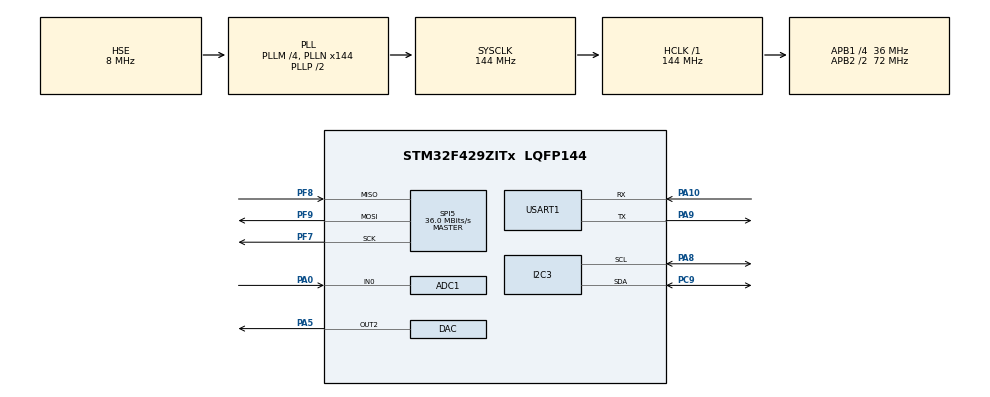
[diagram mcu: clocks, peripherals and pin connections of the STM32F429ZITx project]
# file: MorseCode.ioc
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ADC1.Channel-0\#ChannelRegularConversion=ADC_CHANNEL_0
ADC1.DMAContinuousRequests=ENABLE
ADC1.ExternalTrigConv=ADC_EXTERNALTRIGCONV_T3_TRGO
ADC1.Mode=ADC_TRIPLEMODE_INTERL
ADC1.NbrOfConversionFlag=1
ADC1.Rank-0\#ChannelRegularConversion=1
ADC1.SamplingTime-0\#ChannelRegularConversion=ADC_SAMPLETIME_3CYCLES
ADC1.master=1
ADC2.Channel-0\#ChannelRegularConversion=ADC_CHANNEL_0
ADC2.DMAAccessMode=ADC_DMAACCESSMODE_2
ADC2.Mode=ADC_TRIPLEMODE_INTERL
ADC2.NbrOfConversionFlag=1
ADC2.Rank-0\#ChannelRegularConversion=1
ADC2.SamplingTime-0\#ChannelRegularConversion=ADC_SAMPLETIME_3CYCLES
ADC3.Channel-0\#ChannelRegularConversion=ADC_CHANNEL_0
ADC3.DMAAccessMode=ADC_DMAACCESSMODE_2
ADC3.Mode=ADC_TRIPLEMODE_INTERL
ADC3.NbrOfConversionFlag=1
ADC3.Rank-0\#ChannelRegularConversion=1
ADC3.SamplingTime-0\#ChannelRegularConversion=ADC_SAMPLETIME_3CYCLES
DAC.DAC_Trigger2=DAC_TRIGGER_T6_TRGO
Dma.ADC1.0.Direction=DMA_PERIPH_TO_MEMORY
Dma.ADC1.0.FIFOMode=DMA_FIFOMODE_DISABLE
Dma.ADC1.0.Instance=DMA2_Stream0
Dma.ADC1.0.MemDataAlignment=DMA_MDATAALIGN_WORD
Dma.ADC1.0.MemInc=DMA_MINC_ENABLE
Dma.ADC1.0.Mode=DMA_CIRCULAR
Dma.ADC1.0.PeriphDataAlignment=DMA_PDATAALIGN_WORD
Dma.ADC1.0.PeriphInc=DMA_PINC_DISABLE
Dma.ADC1.0.Priority=DMA_PRIORITY_LOW
Dma.DAC2.1.Direction=DMA_MEMORY_TO_PERIPH
Dma.DAC2.1.FIFOMode=DMA_FIFOMODE_DISABLE
Dma.DAC2.1.Instance=DMA1_Stream6
Dma.DAC2.1.MemDataAlignment=DMA_MDATAALIGN_WORD
Dma.DAC2.1.MemInc=DMA_MINC_ENABLE
Dma.DAC2.1.Mode=DMA_CIRCULAR
Dma.DAC2.1.PeriphDataAlignment=DMA_PDATAALIGN_WORD
Dma.DAC2.1.PeriphInc=DMA_PINC_DISABLE
Dma.DAC2.1.Priority=DMA_PRIORITY_LOW
Dma.Request0=ADC1
Dma.Request1=DAC2
Mcu.Family=STM32F4
Mcu.Name=STM32F429ZITx
Mcu.Package=LQFP144
NVIC.DMA1_Stream6_IRQn=true\:0\:0\:false\:false\:true\:false\:true\:true
NVIC.DMA2_Stream0_IRQn=true\:0\:0\:false\:false\:true\:false\:true\:true
NVIC.PriorityGroup=NVIC_PRIORITYGROUP_0
PA0/WKUP.Signal=ADCx_IN0
PA10.Mode=Asynchronous
PA10.Signal=USART1_RX
PA5.Signal=COMP_DAC2_group
PA8.Mode=I2C
PA8.Signal=I2C3_SCL
PA9.Mode=Asynchronous
PA9.Signal=USART1_TX
PC9.Mode=I2C
PC9.Signal=I2C3_SDA
PF7.Mode=Full_Duplex_Master
PF7.Signal=SPI5_SCK
PF8.Mode=Full_Duplex_Master
PF8.Signal=SPI5_MISO
PF9.Mode=Full_Duplex_Master
PF9.Signal=SPI5_MOSI
PH0/OSC_IN.Mode=HSE-External-Oscillator
PH0/OSC_IN.Signal=RCC_OSC_IN
PH1/OSC_OUT.Mode=HSE-External-Oscillator
PH1/OSC_OUT.Signal=RCC_OSC_OUT
ProjectManager.HeapSize=0x200
ProjectManager.StackSize=0x400
ProjectManager.TargetToolchain=Makefile
RCC.48MHZClocksFreq_Value=41142857.14285714
RCC.AHBFreq_Value=144000000
RCC.APB1CLKDivider=RCC_HCLK_DIV4
RCC.APB1Freq_Value=36000000
RCC.APB1TimFreq_Value=72000000
RCC.APB2CLKDivider=RCC_HCLK_DIV2
RCC.APB2Freq_Value=72000000
RCC.APB2TimFreq_Value=144000000
RCC.CortexFreq_Value=144000000
RCC.HCLKFreq_Value=144000000
RCC.HSE_VALUE=8000000
RCC.HSI_VALUE=16000000
RCC.LSE_VALUE=32768
RCC.PLLM=4
RCC.PLLN=144
RCC.PLLQ=7
RCC.PLLSAIDivR=RCC_PLLSAIDIVR_4
RCC.PLLSAIN=96
RCC.PLLSAIR=4
RCC.PLLSourceVirtual=RCC_PLLSOURCE_HSE
RCC.SYSCLKFreq_VALUE=144000000
RCC.SYSCLKSource=RCC_SYSCLKSOURCE_PLLCLK
RCC.VCOOutputFreq_Value=288000000
SH.ADCx_IN0.0=ADC1_IN0,IN0
SH.ADCx_IN0.1=ADC2_IN0,IN0
SH.ADCx_IN0.2=ADC3_IN0,IN0
SH.COMP_DAC2_group.0=DAC_OUT2,DAC_OUT2
SPI5.CalculateBaudRate=36.0 MBits/s
SPI5.Direction=SPI_DIRECTION_2LINES
SPI5.Mode=SPI_MODE_MASTER
SPI5.VirtualType=VM_MASTER
TIM3.AutoReloadPreload=TIM_AUTORELOAD_PRELOAD_ENABLE
TIM3.Period=30-1
TIM3.TIM_MasterOutputTrigger=TIM_TRGO_UPDATE
TIM6.AutoReloadPreload=TIM_AUTORELOAD_PRELOAD_ENABLE
TIM6.Period=30-1
TIM6.TIM_MasterOutputTrigger=TIM_TRGO_UPDATE
USART1.VirtualMode=VM_ASYNC
VP_CRC_VS_CRC.Mode=CRC_Activate
VP_TIM3_VS_ClockSourceINT.Mode=Internal
VP_TIM6_VS_ClockSourceINT.Mode=Enable_Timer
board=STM32F429I-DISC1

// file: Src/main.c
/* USER CODE BEGIN Header */
/**
  ******************************************************************************
  * @file           : main.c
  * @brief          : Main program body
  ******************************************************************************
  * @attention
  *
  * Copyright (c) 2026 STMicroelectronics.
  * All rights reserved.
  *
  * This software is licensed under terms that can be found in the LICENSE file
  * in the root directory of this software component.
  * If no LICENSE file comes with this software, it is provided AS-IS.
  *
  ******************************************************************************
  */
/* USER CODE END Header */
#include "main.h"

/* USER CODE BEGIN Includes */
#include "math.h"
/* USER CODE END Includes */

/* USER CODE BEGIN PD */
#define FS        3600000.0f
#define F_TONE    1000.0f
#define TABLE_SIZE 200

#define DOT_TIME_MS 100
#define DASH_TIME_MS (3 * DOT_TIME_MS)
/* USER CODE END PD */

/* USER CODE BEGIN PM */
#ifndef M_PI
#define M_PI 3.14159265358979323846f
#endif
/* USER CODE END PM */

ADC_HandleTypeDef hadc1;
ADC_HandleTypeDef hadc2;
ADC_HandleTypeDef hadc3;
DMA_HandleTypeDef hdma_adc1;

CRC_HandleTypeDef hcrc;

DAC_HandleTypeDef hdac;
DMA_HandleTypeDef hdma_dac2;

I2C_HandleTypeDef hi2c3;

SPI_HandleTypeDef hspi5;

TIM_HandleTypeDef htim3;
TIM_HandleTypeDef htim6;

UART_HandleTypeDef huart1;

/* USER CODE BEGIN PV */

volatile uint32_t dac_buffer[TABLE_SIZE];

#define SYMBOL_GAP_MS   DOT_TIME_MS        /* gap between dots/dashes within a letter */
#define LETTER_GAP_MS   (3 * DOT_TIME_MS)  /* gap between letters */
#define WORD_GAP_MS     (7 * DOT_TIME_MS)  /* gap between words */

/* USER CODE END PV */

void SystemClock_Config(void);
static void MX_GPIO_Init(void);
static void MX_DMA_Init(void);
static void MX_ADC1_Init(void);
static void MX_ADC2_Init(void);
static void MX_ADC3_Init(void);
static void MX_DAC_Init(void);
static void MX_TIM6_Init(void);
static void MX_USART1_UART_Init(void);
static void MX_I2C3_Init(void);
static void MX_SPI5_Init(void);
static void MX_TIM3_Init(void);
static void MX_CRC_Init(void);
/* USER CODE BEGIN PFP */

void GenerateSine(void);
void Morse_SOS(void);
void SetTone(uint8_t on);
void Morse_SendSymbol(const char* symbol);
void Morse_SendChar(char c);
void Morse_Send(const char* msg);

/* USER CODE END PFP */

int main(void)
{

  /* MCU Configuration--------------------------------------------------------*/

  /* Reset of all peripherals, Initializes the Flash interface and the Systick. */
  HAL_Init();

  /* Configure the system clock */
  SystemClock_Config();

  /* Initialize all configured peripherals */
  MX_GPIO_Init();
  MX_DMA_Init();
  MX_ADC1_Init();
  MX_ADC2_Init();
  MX_ADC3_Init();
  MX_DAC_Init();
  MX_TIM6_Init();
  MX_USART1_UART_Init();
  MX_I2C3_Init();
  MX_SPI5_Init();
  MX_TIM3_Init();
  MX_CRC_Init();
  /* USER CODE BEGIN 2 */
  GenerateSine();

  HAL_TIM_Base_Start(&htim6);  // DAC trigger timer

  HAL_DAC_Start_DMA(&hdac,
                    DAC_CHANNEL_2,
                    (uint32_t*)dac_buffer,
                    TABLE_SIZE,
                    DAC_ALIGN_12B_R);
    /* USER CODE END 2 */

  /* Infinite loop */
  /* USER CODE BEGIN WHILE */
  while (1)
  {

    Morse_Send("WOLA");          /* or any message you want */
    HAL_Delay(1000);
    // Morse_SOS();
    // HAL_Delay(1000);
    /* USER CODE END WHILE */

  }
}

void SystemClock_Config(void)
{
  RCC_OscInitTypeDef RCC_OscInitStruct = {0};
  RCC_ClkInitTypeDef RCC_ClkInitStruct = {0};

  /** Configure the main internal regulator output voltage
  */
  __HAL_RCC_PWR_CLK_ENABLE();
  __HAL_PWR_VOLTAGESCALING_CONFIG(PWR_REGULATOR_VOLTAGE_SCALE1);

  /** Initializes the RCC Oscillators according to the specified parameters
  * in the RCC_OscInitTypeDef structure.
  */
  RCC_OscInitStruct.OscillatorType = RCC_OSCILLATORTYPE_HSE;
  RCC_OscInitStruct.HSEState = RCC_HSE_ON;
  RCC_OscInitStruct.PLL.PLLState = RCC_PLL_ON;
  RCC_OscInitStruct.PLL.PLLSource = RCC_PLLSOURCE_HSE;
  RCC_OscInitStruct.PLL.PLLM = 4;
  RCC_OscInitStruct.PLL.PLLN = 144;
  RCC_OscInitStruct.PLL.PLLP = RCC_PLLP_DIV2;
  RCC_OscInitStruct.PLL.PLLQ = 7;
  if (HAL_RCC_OscConfig(&RCC_OscInitStruct) != HAL_OK)
  {
    Error_Handler();
  }

  /** Initializes the CPU, AHB and APB buses clocks
  */
  RCC_ClkInitStruct.ClockType = RCC_CLOCKTYPE_HCLK|RCC_CLOCKTYPE_SYSCLK
                              |RCC_CLOCKTYPE_PCLK1|RCC_CLOCKTYPE_PCLK2;
  RCC_ClkInitStruct.SYSCLKSource = RCC_SYSCLKSOURCE_PLLCLK;
  RCC_ClkInitStruct.AHBCLKDivider = RCC_SYSCLK_DIV1;
  RCC_ClkInitStruct.APB1CLKDivider = RCC_HCLK_DIV4;
  RCC_ClkInitStruct.APB2CLKDivider = RCC_HCLK_DIV2;

  if (HAL_RCC_ClockConfig(&RCC_ClkInitStruct, FLASH_LATENCY_4) != HAL_OK)
  {
    Error_Handler();
  }
}

static void MX_ADC1_Init(void)
{

  ADC_MultiModeTypeDef multimode = {0};
  ADC_ChannelConfTypeDef sConfig = {0};

  /** Configure the global features of the ADC (Clock, Resolution, Data Alignment and number of conversion)
  */
  hadc1.Instance = ADC1;
  hadc1.Init.ClockPrescaler = ADC_CLOCK_SYNC_PCLK_DIV2;
  hadc1.Init.Resolution = ADC_RESOLUTION_12B;
  hadc1.Init.ScanConvMode = DISABLE;
  hadc1.Init.ContinuousConvMode = DISABLE;
  hadc1.Init.DiscontinuousConvMode = DISABLE;
  hadc1.Init.ExternalTrigConvEdge = ADC_EXTERNALTRIGCONVEDGE_RISING;
  hadc1.Init.ExternalTrigConv = ADC_EXTERNALTRIGCONV_T3_TRGO;
  hadc1.Init.DataAlign = ADC_DATAALIGN_RIGHT;
  hadc1.Init.NbrOfConversion = 1;
  hadc1.Init.DMAContinuousRequests = ENABLE;
  hadc1.Init.EOCSelection = ADC_EOC_SINGLE_CONV;
  if (HAL_ADC_Init(&hadc1) != HAL_OK)
  {
    Error_Handler();
  }

  /** Configure the ADC multi-mode
  */
  multimode.Mode = ADC_TRIPLEMODE_INTERL;
  multimode.DMAAccessMode = ADC_DMAACCESSMODE_2;
  multimode.TwoSamplingDelay = ADC_TWOSAMPLINGDELAY_5CYCLES;
  if (HAL_ADCEx_MultiModeConfigChannel(&hadc1, &multimode) != HAL_OK)
  {
    Error_Handler();
  }

  /** Configure for the selected ADC regular channel its corresponding rank in the sequencer and its sample time.
  */
  sConfig.Channel = ADC_CHANNEL_0;
  sConfig.Rank = 1;
  sConfig.SamplingTime = ADC_SAMPLETIME_3CYCLES;
  if (HAL_ADC_ConfigChannel(&hadc1, &sConfig) != HAL_OK)
  {
    Error_Handler();
  }

}

static void MX_ADC2_Init(void)
{

  ADC_ChannelConfTypeDef sConfig = {0};

  /** Configure the global features of the ADC (Clock, Resolution, Data Alignment and number of conversion)
  */
  hadc2.Instance = ADC2;
  hadc2.Init.ClockPrescaler = ADC_CLOCK_SYNC_PCLK_DIV2;
  hadc2.Init.Resolution = ADC_RESOLUTION_12B;
  hadc2.Init.ScanConvMode = DISABLE;
  hadc2.Init.ContinuousConvMode = DISABLE;
  hadc2.Init.DiscontinuousConvMode = DISABLE;
  hadc2.Init.DataAlign = ADC_DATAALIGN_RIGHT;
  hadc2.Init.NbrOfConversion = 1;
  hadc2.Init.DMAContinuousRequests = DISABLE;
  hadc2.Init.EOCSelection = ADC_EOC_SINGLE_CONV;
  if (HAL_ADC_Init(&hadc2) != HAL_OK)
  {
    Error_Handler();
  }

  /** Configure for the selected ADC regular channel its corresponding rank in the sequencer and its sample time.
  */
  sConfig.Channel = ADC_CHANNEL_0;
  sConfig.Rank = 1;
  sConfig.SamplingTime = ADC_SAMPLETIME_3CYCLES;
  if (HAL_ADC_ConfigChannel(&hadc2, &sConfig) != HAL_OK)
  {
    Error_Handler();
  }

}

static void MX_ADC3_Init(void)
{

  ADC_ChannelConfTypeDef sConfig = {0};

  /** Configure the global features of the ADC (Clock, Resolution, Data Alignment and number of conversion)
  */
  hadc3.Instance = ADC3;
  hadc3.Init.ClockPrescaler = ADC_CLOCK_SYNC_PCLK_DIV2;
  hadc3.Init.Resolution = ADC_RESOLUTION_12B;
  hadc3.Init.ScanConvMode = DISABLE;
  hadc3.Init.ContinuousConvMode = DISABLE;
  hadc3.Init.DiscontinuousConvMode = DISABLE;
  hadc3.Init.DataAlign = ADC_DATAALIGN_RIGHT;
  hadc3.Init.NbrOfConversion = 1;
  hadc3.Init.DMAContinuousRequests = DISABLE;
  hadc3.Init.EOCSelection = ADC_EOC_SINGLE_CONV;
  if (HAL_ADC_Init(&hadc3) != HAL_OK)
  {
    Error_Handler();
  }

  /** Configure for the selected ADC regular channel its corresponding rank in the sequencer and its sample time.
  */
  sConfig.Channel = ADC_CHANNEL_0;
  sConfig.Rank = 1;
  sConfig.SamplingTime = ADC_SAMPLETIME_3CYCLES;
  if (HAL_ADC_ConfigChannel(&hadc3, &sConfig) != HAL_OK)
  {
    Error_Handler();
  }

}

static void MX_CRC_Init(void)
{

  hcrc.Instance = CRC;
  if (HAL_CRC_Init(&hcrc) != HAL_OK)
  {
    Error_Handler();
  }

}

static void MX_DAC_Init(void)
{

  DAC_ChannelConfTypeDef sConfig = {0};

  /** DAC Initialization
  */
  hdac.Instance = DAC;
  if (HAL_DAC_Init(&hdac) != HAL_OK)
  {
    Error_Handler();
  }

  /** DAC channel OUT2 config
  */
  sConfig.DAC_Trigger = DAC_TRIGGER_T6_TRGO;
  sConfig.DAC_OutputBuffer = DAC_OUTPUTBUFFER_ENABLE;
  if (HAL_DAC_ConfigChannel(&hdac, &sConfig, DAC_CHANNEL_2) != HAL_OK)
  {
    Error_Handler();
  }

}

static void MX_I2C3_Init(void)
{

  hi2c3.Instance = I2C3;
  hi2c3.Init.ClockSpeed = 100000;
  hi2c3.Init.DutyCycle = I2C_DUTYCYCLE_2;
  hi2c3.Init.OwnAddress1 = 0;
  hi2c3.Init.AddressingMode = I2C_ADDRESSINGMODE_7BIT;
  hi2c3.Init.DualAddressMode = I2C_DUALADDRESS_DISABLE;
  hi2c3.Init.OwnAddress2 = 0;
  hi2c3.Init.GeneralCallMode = I2C_GENERALCALL_DISABLE;
  hi2c3.Init.NoStretchMode = I2C_NOSTRETCH_DISABLE;
  if (HAL_I2C_Init(&hi2c3) != HAL_OK)
  {
    Error_Handler();
  }

  /** Configure Analogue filter
  */
  if (HAL_I2CEx_ConfigAnalogFilter(&hi2c3, I2C_ANALOGFILTER_ENABLE) != HAL_OK)
  {
    Error_Handler();
  }

  /** Configure Digital filter
  */
  if (HAL_I2CEx_ConfigDigitalFilter(&hi2c3, 0) != HAL_OK)
  {
    Error_Handler();
  }

}

static void MX_SPI5_Init(void)
{

  /* SPI5 parameter configuration*/
  hspi5.Instance = SPI5;
  hspi5.Init.Mode = SPI_MODE_MASTER;
  hspi5.Init.Direction = SPI_DIRECTION_2LINES;
  hspi5.Init.DataSize = SPI_DATASIZE_8BIT;
  hspi5.Init.CLKPolarity = SPI_POLARITY_LOW;
  hspi5.Init.CLKPhase = SPI_PHASE_1EDGE;
  hspi5.Init.NSS = SPI_NSS_SOFT;
  hspi5.Init.BaudRatePrescaler = SPI_BAUDRATEPRESCALER_2;
  hspi5.Init.FirstBit = SPI_FIRSTBIT_MSB;
  hspi5.Init.TIMode = SPI_TIMODE_DISABLE;
  hspi5.Init.CRCCalculation = SPI_CRCCALCULATION_DISABLE;
  hspi5.Init.CRCPolynomial = 10;
  if (HAL_SPI_Init(&hspi5) != HAL_OK)
  {
    Error_Handler();
  }

}

static void MX_TIM3_Init(void)
{

  TIM_ClockConfigTypeDef sClockSourceConfig = {0};
  TIM_MasterConfigTypeDef sMasterConfig = {0};

  htim3.Instance = TIM3;
  htim3.Init.Prescaler = 0;
  htim3.Init.CounterMode = TIM_COUNTERMODE_UP;
  htim3.Init.Period = 30-1;
  htim3.Init.ClockDivision = TIM_CLOCKDIVISION_DIV1;
  htim3.Init.AutoReloadPreload = TIM_AUTORELOAD_PRELOAD_ENABLE;
  if (HAL_TIM_Base_Init(&htim3) != HAL_OK)
  {
    Error_Handler();
  }
  sClockSourceConfig.ClockSource = TIM_CLOCKSOURCE_INTERNAL;
  if (HAL_TIM_ConfigClockSource(&htim3, &sClockSourceConfig) != HAL_OK)
  {
    Error_Handler();
  }
  sMasterConfig.MasterOutputTrigger = TIM_TRGO_UPDATE;
  sMasterConfig.MasterSlaveMode = TIM_MASTERSLAVEMODE_DISABLE;
  if (HAL_TIMEx_MasterConfigSynchronization(&htim3, &sMasterConfig) != HAL_OK)
  {
    Error_Handler();
  }

}

static void MX_TIM6_Init(void)
{

  TIM_MasterConfigTypeDef sMasterConfig = {0};

  htim6.Instance = TIM6;
  htim6.Init.Prescaler = 10-1;
  htim6.Init.CounterMode = TIM_COUNTERMODE_UP;
  htim6.Init.Period = 36-1;
  htim6.Init.AutoReloadPreload = TIM_AUTORELOAD_PRELOAD_ENABLE;
  if (HAL_TIM_Base_Init(&htim6) != HAL_OK)
  {
    Error_Handler();
  }
  sMasterConfig.MasterOutputTrigger = TIM_TRGO_UPDATE;
  sMasterConfig.MasterSlaveMode = TIM_MASTERSLAVEMODE_DISABLE;
  if (HAL_TIMEx_MasterConfigSynchronization(&htim6, &sMasterConfig) != HAL_OK)
  {
    Error_Handler();
  }

}

static void MX_USART1_UART_Init(void)
{

  huart1.Instance = USART1;
  huart1.Init.BaudRate = 115200;
  huart1.Init.WordLength = UART_WORDLENGTH_8B;
  huart1.Init.StopBits = UART_STOPBITS_1;
  huart1.Init.Parity = UART_PARITY_NONE;
  huart1.Init.Mode = UART_MODE_TX_RX;
  huart1.Init.HwFlowCtl = UART_HWCONTROL_NONE;
  huart1.Init.OverSampling = UART_OVERSAMPLING_16;
  if (HAL_UART_Init(&huart1) != HAL_OK)
  {
    Error_Handler();
  }

}

static void MX_DMA_Init(void)
{

  /* DMA controller clock enable */
  __HAL_RCC_DMA2_CLK_ENABLE();
  __HAL_RCC_DMA1_CLK_ENABLE();

  /* DMA interrupt init */
  /* DMA1_Stream6_IRQn interrupt configuration */
  HAL_NVIC_SetPriority(DMA1_Stream6_IRQn, 0, 0);
  HAL_NVIC_EnableIRQ(DMA1_Stream6_IRQn);
  /* DMA2_Stream0_IRQn interrupt configuration */
  HAL_NVIC_SetPriority(DMA2_Stream0_IRQn, 0, 0);
  HAL_NVIC_EnableIRQ(DMA2_Stream0_IRQn);

}

static void MX_GPIO_Init(void)
{

  /* GPIO Ports Clock Enable */
  __HAL_RCC_GPIOF_CLK_ENABLE();
  __HAL_RCC_GPIOH_CLK_ENABLE();
  __HAL_RCC_GPIOA_CLK_ENABLE();
  __HAL_RCC_GPIOC_CLK_ENABLE();

}

/* USER CODE BEGIN 4 */
void GenerateSine(void)
{
    for (int i = 0; i < TABLE_SIZE; i++)
    {
        float t = (float)i / TABLE_SIZE;
        float val = (sinf(2 * M_PI * t) + 1.0f) * 2047; // 12-bit DAC

        dac_buffer[i] = (uint16_t)val;
    }
}

// void SetTone(uint8_t on)
// {
//     for (int i = 0; i < TABLE_SIZE; i++)
//     {
//         if (on)
//             dac_buffer[i] = (uint16_t)((sinf(2 * M_PI * i / TABLE_SIZE) + 1) * 2047); // 1kHz tone
//         else
//             dac_buffer[i] = 2047; // silence (mid-scale)
//     }
// }

void SetTone(uint8_t on)
{
    for (int i = 0; i < TABLE_SIZE; i++)
    {
        if (on)
            dac_buffer[i] = (uint32_t)(2482 + 1221 * sinf(2.0f * M_PI * i / TABLE_SIZE));
        else
            dac_buffer[i] = 2482;   /* 2V DC offset, no signal */
    }
}

void Morse_SOS(void)
{
    // S: ...
    for(int i=0;i<3;i++){
        SetTone(1);
        HAL_Delay(DOT_TIME_MS);
        SetTone(0);
        HAL_Delay(DOT_TIME_MS);
    }

    HAL_Delay(2 * DOT_TIME_MS);

    // O: ---
    for(int i=0;i<3;i++){
        SetTone(1);
        HAL_Delay(DASH_TIME_MS);
        SetTone(0);
        HAL_Delay(DOT_TIME_MS);
    }

    HAL_Delay(2 * DOT_TIME_MS);

    // S: ...
    for(int i=0;i<3;i++){
        SetTone(1);
        HAL_Delay(DOT_TIME_MS);
        SetTone(0);
        HAL_Delay(DOT_TIME_MS);
    }
}

/* Add to USER CODE BEGIN 4 */

/* Morse code strings for A-Z and 0-9 */
static const char* morseTable[] = {
    /* A-Z */
    ".-", "-...", "-.-.", "-..", ".", "..-.", "--.", "....", "..",
    ".---", "-.-", ".-..", "--", "-.", "---", ".--.", "--.-", ".-.",
    "...", "-", "..-", "...-", ".--", "-..-", "-.--", "--..",
    /* 0-9 */
    "-----", ".----", "..---", "...--", "....-",
    ".....", "-....", "--...", "---..", "----."
};

static const char morseChars[] = "ABCDEFGHIJKLMNOPQRSTUVWXYZ0123456789";

void Morse_SendSymbol(const char* symbol)
{
    for (int i = 0; symbol[i] != '\0'; i++)
    {
        if (symbol[i] == '.')
        {
            SetTone(1);
            HAL_Delay(DOT_TIME_MS);
        }
        else if (symbol[i] == '-')
        {
            SetTone(1);
            HAL_Delay(DASH_TIME_MS);
        }
        SetTone(0);
        HAL_Delay(SYMBOL_GAP_MS);  /* gap between elements */
    }
}

void Morse_SendChar(char c)
{
    if (c == ' ')
    {
        /* Word gap (we already added letter gap, so add remaining) */
        HAL_Delay(WORD_GAP_MS - LETTER_GAP_MS);
        return;
    }

    /* Convert to uppercase */
    if (c >= 'a' && c <= 'z') c -= 32;

    /* Find in table */
    for (int i = 0; morseChars[i] != '\0'; i++)
    {
        if (morseChars[i] == c)
        {
            Morse_SendSymbol(morseTable[i]);
            HAL_Delay(LETTER_GAP_MS - SYMBOL_GAP_MS); /* top up to letter gap */
            return;
        }
    }
    /* Unknown character — skip */
}

void Morse_Send(const char* msg)
{
    for (int i = 0; msg[i] != '\0'; i++)
    {
        Morse_SendChar(msg[i]);
    }
}

/* USER CODE END 4 */

void Error_Handler(void)
{
  __disable_irq();
  while (1)
  {
  }
}
